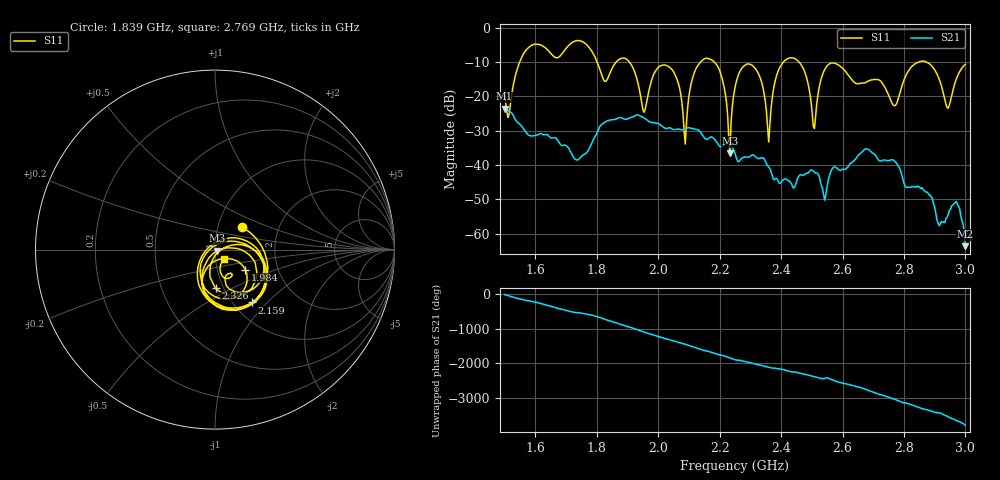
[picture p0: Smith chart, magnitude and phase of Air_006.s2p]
# HZ S RI R 50
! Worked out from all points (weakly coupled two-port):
!   404 points, 1.5 GHz to 3 GHz, reference 50 ohm
!   highest |S21| = -23.56 dB at 1.5 GHz (marker M1); lowest = -63.7 dB at 3 GHz (marker M2)
!   lowest |S11| = -36.6 dB at 2.233 GHz (marker M3), VSWR 1.03, Z = 51.3 - j0.666 ohm
!   |S11| at or under -10 dB: 1.906 GHz to 2.137 GHz (230.9 MHz wide, 11.4 % of centre); 2.183 GHz to 2.407 GHz (224.1 MHz wide, 9.76 % of centre); 2.459 GHz to 2.848 GHz (388.8 MHz wide, 14.7 % of centre) (the widest 3 of 6)
!   S12 and S22 are empty: the file has one direction only
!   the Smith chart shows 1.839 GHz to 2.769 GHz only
!   S11 on the Smith chart (normalised r, x): 1.839 GHz: 1.31, +0.34; 1.984 GHz: 1.37, -0.32; 2.159 GHz: 1.22, -0.82; 2.326 GHz: 0.92, -0.41; 2.769 GHz: 1.11, -0.11
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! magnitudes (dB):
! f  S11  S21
! 1.5 GHz  -19.9  -23.6
! 1.582 GHz  -5.4  -31.4
! 1.753 GHz  -4.0  -37.3
! 1.839 GHz  -14.1  -27.0
! 1.902 GHz  -9.5  -26.4
! 1.954 GHz  -24.6  -26.3
! 1.984 GHz  -13.9  -27.6
! 2.002 GHz  -11.3  -28.0
! 2.088 GHz  -33.9  -29.5
! 2.159 GHz  -8.9  -32.6
! 2.233 GHz  -36.6  -34.3
! 2.252 GHz  -16.6  -37.1
! 2.326 GHz  -13.4  -38.1
! 2.36 GHz  -33.3  -40.5
! 2.449 GHz  -9.2  -45.2
! 2.501 GHz  -24.9  -41.5
! 2.565 GHz  -10.2  -41.4
! 2.751 GHz  -19.7  -38.7
! 2.769 GHz  -22.7  -38.8
! 2.862 GHz  -9.7  -47.1
! 2.944 GHz  -23.4  -54.3
! 3 GHz  -10.6  -63.7
